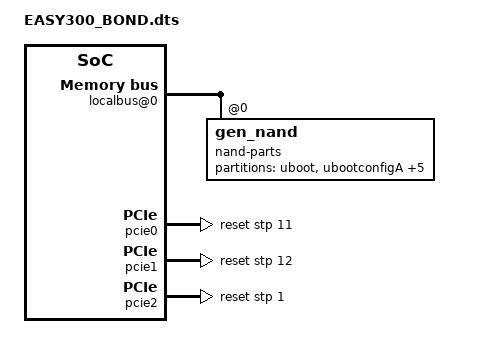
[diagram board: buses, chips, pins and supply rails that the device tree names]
/dts-v1/;


/include/ "EASY330_BOND.dtsi"

/ {
	fpi@10000000 {
		localbus@0 {
			ranges = <0 0 0x4000000 0x3ffffff>;
			nand-parts@0 {
				compatible = "gen_nand", "lantiq,nand-xway";
				lantiq,cs = <1>;
				bank-width = <2>;
				reg = <0 0x0 0x2000000>;
				#address-cells = <1>;
				#size-cells = <1>;

				partition@0 {
					label = "uboot";
					reg = <0x000000 0x100000>;
				};

				partition@100000 {
					label = "ubootconfigA";
					reg = <0x100000 0x40000>;
				};

				partition@140000 {
					label = "ubootconfigB";
					reg = <0x140000 0x40000>;
				};

				partition@180000 {
					label = "gphyfirmware";
					reg = <0x180000 0x40000>;
				};

				partition@1c0000 {
					label = "system_sw";
					reg = <0x1c0000 0x3200000>;
				};

				partition@33c0000 {
					label = "calibration";
					reg = <0x33c0000 0x100000>;
				}
;
				partition@34c0000 {
					label = "res";
					reg = <0x34c0000 0xb40000>;
				};

			};
		};
	};
};

&xrx300_cpuclocks {
	status = "okay";
};

&pcie0 {
	status = "ok";
	reset-gpio = <&stp 11 0>;
	lantiq,rst-high-active = <1>; /* 0 - low activ, 1 -- high active */
	lantiq,rst-interval = <200>; /* in mili-seconds, up to 500 ms*/
	lantiq,inbound-swap = <0>; /* 0 -- no swap, 1 -- swap */
	lantiq,outbound-swap = <0>; /* 0 -- no swap, 1 -- swap */
	lantiq,phy-mode = <0>; /* 0 -36Mhz, 1 - 36MHzSSC, 2 - 25Mhz, 3 - 25MHzSSC, 4 - 100MHz */
};

&pcie1 {
	status = "ok";
	reset-gpio = <&stp 12 0>;
	lantiq,rst-high-active = <1>; /* 0 - low activ, 1 -- high active */
	lantiq,rst-interval = <200>; /* in mili-seconds, up to 500 ms*/
	lantiq,inbound-swap = <0>; /* 0 -- no swap, 1 -- swap */
	lantiq,outbound-swap = <0>; /* 0 -- no swap, 1 -- swap */
	lantiq,phy-mode = <0>; /* 0 -36Mhz, 1 - 36MHzSSC, 2 - 25Mhz, 3 - 25MHzSSC, 4 - 100MHz */
};

&pcie2 {
        status = "ok";
        reset-gpio = <&stp 1 0>;
        lantiq,rst-high-active = <0>; /* 0 - low activ, 1 -- high active */
        lantiq,rst-interval = <200>; /* in mili-seconds, up to 500 ms*/
        lantiq,inbound-swap = <1>; /* 0 -- no swap, 1 -- swap */
        lantiq,outbound-swap = <0>; /* 0 -- no swap, 1 -- swap */
        lantiq,phy-mode = <0>; /* 0 -36Mhz, 1 - 36MHzSSC, 2 - 25Mhz, 3 - 25MHzSSC, 4 - 100MHz */
};

